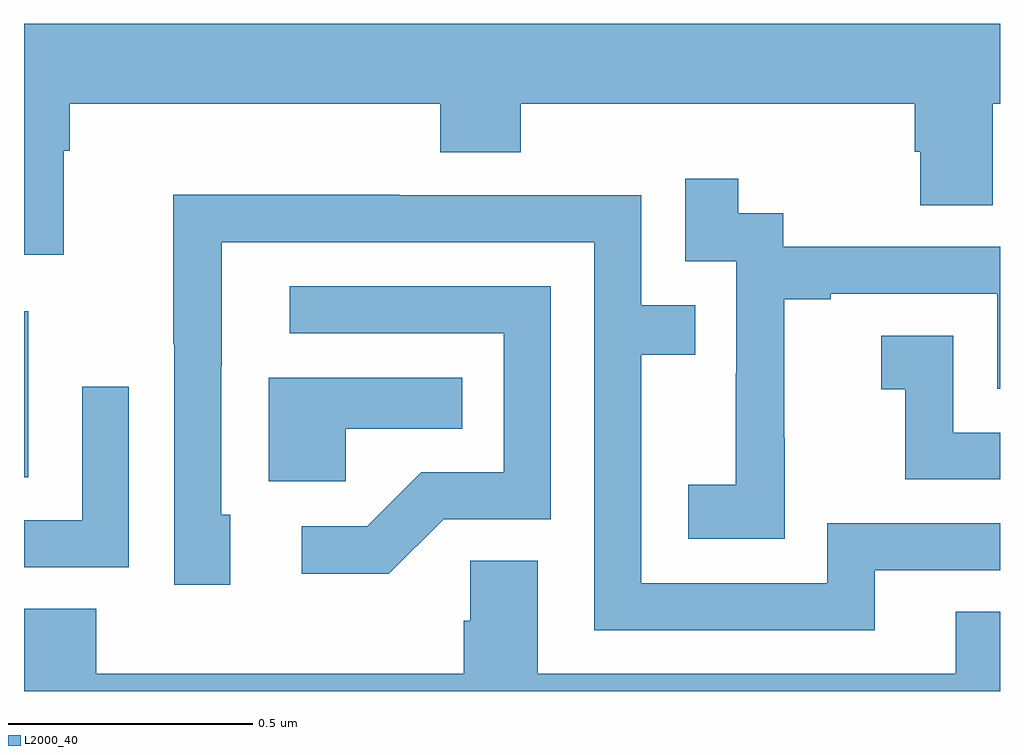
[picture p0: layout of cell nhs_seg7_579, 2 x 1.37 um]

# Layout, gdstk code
import gdstk
lib = gdstk.Library(unit=1e-6, precision=1e-09)
def R(c, l, rs):  # rectangles x0, y0, x1, y1
    for r in rs: c.add(gdstk.rectangle(r[:2], r[2:], *l))
def P(c, l, *ps):  # polygons
    for p in ps: c.add(gdstk.Polygon(p, *l))
L2000_40 = (2000, 40)

nhs_seg7_579 = lib.new_cell('nhs_seg7_579')
R(nhs_seg7_579, L2000_40, [(118,1078.439,118.009,1078.779)])
P(nhs_seg7_579, L2000_40, [(118.081,1079.108),(118.094,1079.108),(118.094,1079.204),(118.853,1079.204),(118.853,1079.105),(119.018,1079.105),(119.018,1079.204),(119.825,1079.204),(119.825,1079.106),(119.837,1079.106),(119.837,1078.996),(119.985,1078.996),(119.985,1079.204),(120,1079.204),(120,1079.368),(118,1079.368),(118,1078.895),(118.081,1078.895)],
  [(119.559,1078.519),(119.558,1078.519),(119.558,1078.803),(119.653,1078.803),(119.653,1078.815),(119.994,1078.815),(119.994,1078.62),(120,1078.62),(120,1078.911),(119.556,1078.911),(119.556,1078.98),(119.464,1078.98),(119.464,1079.05),(119.355,1079.05),(119.355,1078.881),(119.46,1078.881),(119.46,1078.652),(119.459,1078.652),(119.459,1078.423),(119.361,1078.423),(119.361,1078.313),(119.559,1078.313)],
  [(119.743,1078.248),(120,1078.248),(120,1078.344),(119.646,1078.344),(119.646,1078.221),(119.265,1078.221),(119.265,1078.69),(119.375,1078.69),(119.375,1078.791),(119.265,1078.791),(119.265,1079.016),(118.769,1079.016),(118.769,1079.018),(118.306,1079.018),(118.306,1078.711),(118.308,1078.711),(118.308,1078.218),(118.423,1078.218),(118.423,1078.362),(118.404,1078.362),(118.404,1078.666),(118.405,1078.666),(118.405,1078.92),(119.169,1078.92),(119.169,1078.125),(119.743,1078.125)],
  [(118.86,1078.353),(119.079,1078.353),(119.079,1078.83),(118.545,1078.83),(118.545,1078.734),(118.983,1078.734),(118.983,1078.449),(118.814,1078.449),(118.703,1078.338),(118.569,1078.338),(118.569,1078.241),(118.747,1078.241)],
  [(120,1078.53),(119.904,1078.53),(119.904,1078.729),(119.757,1078.729),(119.757,1078.619),(119.806,1078.619),(119.806,1078.434),(120,1078.434)],
  [(118.659,1078.538),(118.898,1078.538),(118.898,1078.642),(118.502,1078.642),(118.502,1078.43),(118.659,1078.43)],
  [(118.215,1078.624),(118.119,1078.624),(118.119,1078.35),(118,1078.35),(118,1078.254),(118.215,1078.254)],
  [(120,1078.163),(119.909,1078.163),(119.909,1078.036),(119.053,1078.036),(119.053,1078.268),(118.914,1078.268),(118.914,1078.145),(118.901,1078.145),(118.901,1078.036),(118.148,1078.036),(118.148,1078.169),(118,1078.169),(118,1078),(120,1078)])

lib.write_gds('nhs_seg7_579.gds')
